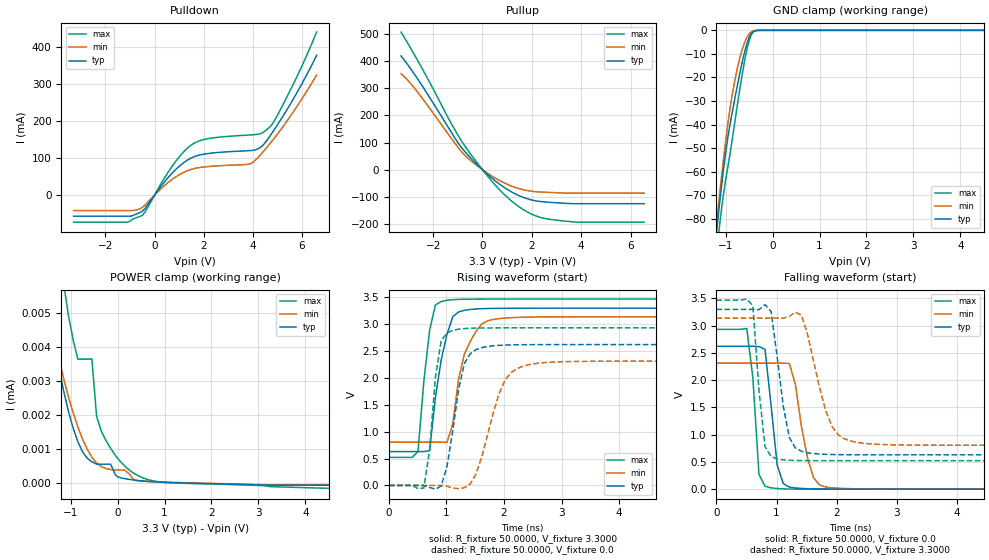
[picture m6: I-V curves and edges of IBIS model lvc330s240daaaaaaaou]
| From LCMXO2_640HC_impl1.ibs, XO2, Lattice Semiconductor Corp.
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[Model]   lvc330s240daaaaaaaou
Model_type   Output
Polarity   Non-Inverting
Enable   Active-Low
Vmeas =   1.6500V
Cref =   0.0F
Rref =   1.0000M
Vref =   0.0V
C_comp   4.2000pF   3.8000pF   7.5000pF
[Temperature Range]   25.0000   0.1050k   -40.0000
[Voltage Range]   3.3000V   3.1400V   3.4700V
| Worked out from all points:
|   slope of the pulldown table from 0 to 0.495 V, typ, clamps not added: 11.5 ohm
|   slope of the pullup table from 0 to 0.495 V, typ, clamps not added: 12.5 ohm
|   GND clamp passes 1 mA (typ) near -0.44 V on its own axis
|   rising waveform, R_fixture 50.0000, V_fixture 3.3000: 20-80 % time 239ps typ, 284ps min, 164ps max; typ from 0.63 V to 3.3 V
|   rising waveform, R_fixture 50.0000, V_fixture 0.0: 20-80 % time 241ps typ, 381ps min, 160ps max; typ from 0 V to 2.62 V
|   falling waveform, R_fixture 50.0000, V_fixture 0.0: 20-80 % time 149ps typ, 223ps min, 117ps max; typ from 2.62 V to 0 V
|   falling waveform, R_fixture 50.0000, V_fixture 3.3000: 20-80 % time 205ps typ, 328ps min, 138ps max; typ from 3.3 V to 0.63 V
[Pulldown]
|Voltage   I(typ)   I(min)   I(max)
-3.3V     -56.93mA   -41.75mA   -73.18mA
-1.1V     -56.93mA   -41.75mA   -73.18mA
-600mV    -47.24mA   -37.04mA   -57.86mA
-400mV    -36.86mA   -27.43mA   -46.9mA
800mV     65.24mA    46.38mA    85.71mA
1.5V      100.7mA    69.7mA     135.7mA
2.2V      112.6mA    77.41mA    153mA
3.9V      120.5mA    84.82mA    162.6mA
4.5V      141.5mA    123.4mA    173.4mA
4.8V      169.6mA    147.5mA    192.3mA
5.1V      199.9mA    173.4mA    227.9mA
6.6V      378.1mA    324.7mA    440.9mA
[Pullup]
|Voltage   I(typ)   I(min)   I(max)
-3.3V     419.7mA    353.5mA    507.6mA
-2.7V     344.5mA    294.3mA    414.5mA
-1.3V     143.5mA    120.4mA    175.8mA
-800mV    76.04mA    61.31mA    99.18mA
-300mV    26.81mA    20.74mA    35.83mA
400mV     -32.67mA   -24.69mA   -44.68mA
900mV     -66.59mA   -49.53mA   -92.73mA
1.3V      -87.89mA   -64.44mA   -124.5mA
2V        -111.9mA   -79.57mA   -164.2mA
2.7V      -120.2mA   -83.87mA   -182.6mA
3.8V      -125.4mA   -86.65mA   -193.5mA
6.55V     -125.4mA   -86.65mA   -193.7mA
[GND_clamp]
|Voltage   I(typ)   I(min)   I(max)
-3.3V     -955.3mA   -930.3mA   -978mA
-1.2V     -86.18mA   -82.93mA   -94.91mA
-1.15V    -76.73mA   -73.29mA   -85.74mA
-1.1V     -67.71mA   -63.95mA   -77.28mA
-1V       -51.52mA   -46.57mA   -63.21mA
-900mV    -38.87mA   -31.88mA   -51.26mA
-800mV    -28.25mA   -20.58mA   -37.97mA
-700mV    -18.1mA    -11.63mA   -24.81mA
-600mV    -9.267mA   -5.265mA   -13.06mA
-450mV    -1.181mA   -586.6uA   -1.592mA
-250mV    -3.532uA   -4.055uA   -3.003uA
6.6V      0A         0A         0A
[POWER_clamp]
|Voltage   I(typ)   I(min)   I(max)
-3.25V    664.8uA    749.4uA    597.1uA
-1.55V    5.915uA    5.713uA    11.4uA
-1.45V    4.988uA    4.975uA    9.752uA
-1.15V    2.704uA    3.074uA    5.864uA
-850mV    1.227uA    1.662uA    3.655uA
-550mV    632.1nA    767.3nA    3.655uA
-450mV    564.4nA    596.3nA    1.977uA
-150mV    564.4nA    405.1nA    1.026uA
0V        190.5nA    391.9nA    734.7nA
450mV     79.23nA    72.94nA    213.9nA
950mV     30.32nA    38.42nA    33.55nA
6.6V      -57.56nA   -49.34nA   -232.5nA
[Ramp]
| variable   typ   min   max
dV/dt_r  1.5736/0.2383n   1.3885/0.3774n   1.7602/0.1582n
dV/dt_f  1.6018/0.2035n   1.4002/0.3250n   1.7683/0.1365n
R_load = 50.0000
[Rising Waveform]
R_fixture=   50.0000
V_fixture=   3.3000
V_fixture_min=   3.1400
V_fixture_max=   3.4700
|time   V(typ)   V(min)   V(max)
0s        630.4mV    806.4mV    522.7mV
505.1ps   630.4mV    806.4mV    627.7mV
707.1ps   648mV      806.4mV    2.886V
808.1ps   1.637V     806.6mV    3.361V
909.1ps   2.339V     805.7mV    3.424V
1.111ns   3.143V     1.147V     3.459V
1.212ns   3.231V     1.991V     3.464V
1.313ns   3.26V      2.448V     3.467V
1.717ns   3.295V     3.065V     3.47V
10ns      3.3V       3.14V      3.47V
[Rising Waveform]
R_fixture=   50.0000
V_fixture=   0.0
V_fixture_min=   0.0
V_fixture_max=   0.0
|time   V(typ)   V(min)   V(max)
0s        401.5nV    548nV      376.4nV
606.1ps   -996.4uV   1.903uV    -49.11mV
808.1ps   -69.74mV   35.14uV    2.014V
909.1ps   -12.04mV   -665.6uV   2.7V
1.111ns   1.028V     -51.28mV   2.888V
1.313ns   2.272V     -42.1mV    2.921V
1.414ns   2.454V     27.78mV    2.927V
2.02ns    2.613V     1.964V     2.933V
2.424ns   2.621V     2.246V     2.934V
10ns      2.623V     2.314V     2.934V
[Falling Waveform]
R_fixture=   50.0000
V_fixture=   0.0
V_fixture_min=   0.0
V_fixture_max=   0.0
|time   V(typ)   V(min)   V(max)
0s        2.623V     2.314V     2.934V
505.1ps   2.623V     2.314V     2.95V
606.1ps   2.624V     2.314V     2.045V
707.1ps   2.618V     2.314V     271.6mV
808.1ps   2.569V     2.314V     53.37mV
1.01ns    444.4mV    2.316V     12.03mV
1.212ns   37.3mV     2.308V     3.037mV
1.515ns   8.564mV    570.8mV    402.1uV
1.818ns   2.036mV    39.47mV    101.5uV
10ns      15.97uV    1.318uV    6.3uV
[Falling Waveform]
R_fixture=   50.0000
V_fixture=   3.3000
V_fixture_min=   3.1400
V_fixture_max=   3.4700
|time   V(typ)   V(min)   V(max)
0s        3.3V       3.14V      3.47V
606.1ps   3.301V     3.14V      3.368V
808.1ps   3.387V     3.14V      779.3mV
909.1ps   3.259V     3.14V      598.5mV
1.01ns    2.427V     3.142V     554.8mV
1.212ns   948.8mV    3.174V     530.7mV
1.313ns   756.2mV    3.247V     526.9mV
1.919ns   635.8mV    1.157V     522.9mV
2.222ns   631.7mV    887.6mV    522.8mV
10ns      630.4mV    806.4mV    522.8mV
